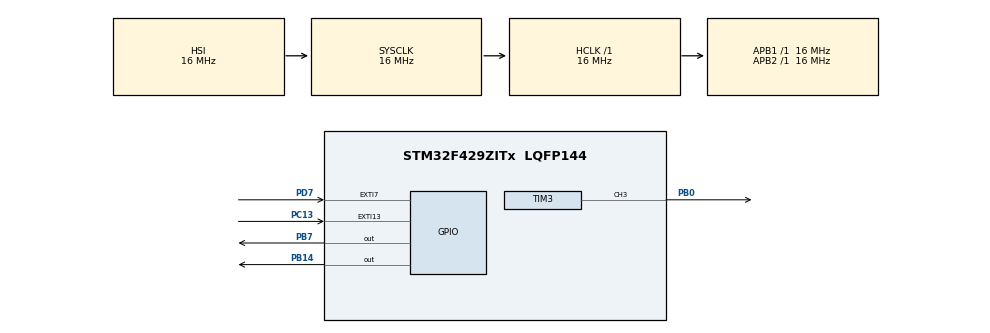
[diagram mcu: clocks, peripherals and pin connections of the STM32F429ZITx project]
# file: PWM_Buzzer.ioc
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Mcu.Family=STM32F4
Mcu.Name=STM32F429ZITx
Mcu.Package=LQFP144
NVIC.EXTI9_5_IRQn=true\:0\:0\:false\:false\:true\:true\:true\:true
NVIC.PriorityGroup=NVIC_PRIORITYGROUP_4
NVIC.TIM2_IRQn=true\:0\:0\:false\:true\:true\:2\:true\:true\:true
NVIC.TIM4_IRQn=true\:0\:0\:false\:true\:true\:1\:true\:true\:true
PB0.Signal=S_TIM3_CH3
PB14.Signal=GPIO_Output
PB7.Signal=GPIO_Output
PC13.GPIO_ModeDefaultEXTI=GPIO_MODE_IT_RISING
PC13.Signal=GPXTI13
PD7.GPIO_PuPd=GPIO_PULLUP
PD7.Signal=GPXTI7
ProjectManager.HeapSize=0x200
ProjectManager.StackSize=0x400
ProjectManager.TargetToolchain=STM32CubeIDE
RCC.AHBFreq_Value=16000000
RCC.APB1Freq_Value=16000000
RCC.APB2Freq_Value=16000000
RCC.CortexFreq_Value=16000000
RCC.HSE_VALUE=25000000
RCC.HSI_VALUE=16000000
RCC.LSE_VALUE=32768
RCC.SYSCLKFreq_VALUE=16000000
RCC.VCOOutputFreq_Value=192000000
SH.S_TIM3_CH3.0=TIM3_CH3,PWM Generation3 CH3
TIM2.AutoReloadPreload=TIM_AUTORELOAD_PRELOAD_ENABLE
TIM2.Period=199
TIM2.Prescaler=1599
TIM3.AutoReloadPreload=TIM_AUTORELOAD_PRELOAD_ENABLE
TIM3.Channel-PWM\ Generation3\ CH3=TIM_CHANNEL_3
TIM3.Period=199
TIM3.Prescaler=15
TIM4.Period=5000-1
TIM4.Prescaler=8400-1
VP_TIM2_VS_ClockSourceINT.Mode=Internal
VP_TIM3_VS_ClockSourceINT.Mode=Internal
VP_TIM4_VS_ClockSourceINT.Mode=Internal
board=custom

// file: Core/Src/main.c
/* USER CODE BEGIN Header */
/**
  ******************************************************************************
  * @file           : main.c
  * @brief          : Main program body
  ******************************************************************************
  * @attention
  *
  * <h2><center>&copy; Copyright (c) 2021 STMicroelectronics.
  * All rights reserved.</center></h2>
  *
  * This software component is licensed by ST under BSD 3-Clause license,
  * the "License"; You may not use this file except in compliance with the
  * License. You may obtain a copy of the License at:
  *                        opensource.org/licenses/BSD-3-Clause
  *
  ******************************************************************************
  */
/* USER CODE END Header */
#include "main.h"

/* USER CODE BEGIN PTD */
typedef struct{
	uint16_t freq;
	uint16_t delay;
}_BUZZER;

/* USER CODE END PTD */

/* USER CODE BEGIN PD */
#define C	262
#define D	294
#define E	330
#define F	349
#define G	392
#define A	440
#define B	494
#define C1	523
#define D1	587
#define E1	659
/* USER CODE END PD */

TIM_HandleTypeDef htim2;
TIM_HandleTypeDef htim3;
TIM_HandleTypeDef htim4;

void SystemClock_Config(void);
static void MX_GPIO_Init(void);
static void MX_TIM2_Init(void);
static void MX_TIM3_Init(void);
static void MX_TIM4_Init(void);
static void MX_NVIC_Init(void);

/* USER CODE BEGIN 0 */
#define MEL_NUM 	24

_BUZZER buzzer[MEL_NUM] = {
		{G, 1}, {G, 1}, {A, 1}, {A, 1}, // 4
		{G, 1}, {G, 1}, {E, 2}, // 3
		{G, 1}, {G, 1}, {E, 1}, {E, 1}, {D, 3}, // 5
		{G, 1}, {G, 1}, {A, 1}, {A, 1}, // 4
		{G, 1}, {G, 1}, {E, 2}, // 3
		{G, 1}, {E, 1}, {D, 1}, {E, 1}, {C, 3} // 5
};

uint8_t start = 0;
uint8_t seq = 0;
uint8_t stop = 0;

int alarm = 0;
/* USER CODE END 0 */

int main(void)
{

  /* MCU Configuration--------------------------------------------------------*/

  /* Reset of all peripherals, Initializes the Flash interface and the Systick. */
  HAL_Init();

  /* Configure the system clock */
  SystemClock_Config();

  /* Initialize all configured peripherals */
  MX_GPIO_Init();
  MX_TIM2_Init();
  MX_TIM3_Init();
  MX_TIM4_Init();

  /* Initialize interrupts */
  MX_NVIC_Init();

  /* Infinite loop */
  while (1)
  {

  }
}

void SystemClock_Config(void)
{
  RCC_OscInitTypeDef RCC_OscInitStruct = {0};
  RCC_ClkInitTypeDef RCC_ClkInitStruct = {0};

  /** Configure the main internal regulator output voltage
  */
  __HAL_RCC_PWR_CLK_ENABLE();
  __HAL_PWR_VOLTAGESCALING_CONFIG(PWR_REGULATOR_VOLTAGE_SCALE3);
  /** Initializes the RCC Oscillators according to the specified parameters
  * in the RCC_OscInitTypeDef structure.
  */
  RCC_OscInitStruct.OscillatorType = RCC_OSCILLATORTYPE_HSI;
  RCC_OscInitStruct.HSIState = RCC_HSI_ON;
  RCC_OscInitStruct.HSICalibrationValue = RCC_HSICALIBRATION_DEFAULT;
  RCC_OscInitStruct.PLL.PLLState = RCC_PLL_NONE;
  if (HAL_RCC_OscConfig(&RCC_OscInitStruct) != HAL_OK)
  {
    Error_Handler();
  }
  /** Initializes the CPU, AHB and APB buses clocks
  */
  RCC_ClkInitStruct.ClockType = RCC_CLOCKTYPE_HCLK|RCC_CLOCKTYPE_SYSCLK
                              |RCC_CLOCKTYPE_PCLK1|RCC_CLOCKTYPE_PCLK2;
  RCC_ClkInitStruct.SYSCLKSource = RCC_SYSCLKSOURCE_HSI;
  RCC_ClkInitStruct.AHBCLKDivider = RCC_SYSCLK_DIV1;
  RCC_ClkInitStruct.APB1CLKDivider = RCC_HCLK_DIV1;
  RCC_ClkInitStruct.APB2CLKDivider = RCC_HCLK_DIV1;

  if (HAL_RCC_ClockConfig(&RCC_ClkInitStruct, FLASH_LATENCY_0) != HAL_OK)
  {
    Error_Handler();
  }
}

/**
  * @brief NVIC Configuration.
  * @retval None
  */
static void MX_NVIC_Init(void)
{
  /* TIM4_IRQn interrupt configuration */
  HAL_NVIC_SetPriority(TIM4_IRQn, 0, 0);
  HAL_NVIC_EnableIRQ(TIM4_IRQn);
  /* TIM2_IRQn interrupt configuration */
  HAL_NVIC_SetPriority(TIM2_IRQn, 0, 0);
  HAL_NVIC_EnableIRQ(TIM2_IRQn);
}

static void MX_TIM2_Init(void)
{

  TIM_ClockConfigTypeDef sClockSourceConfig = {0};
  TIM_MasterConfigTypeDef sMasterConfig = {0};

  htim2.Instance = TIM2;
  htim2.Init.Prescaler = 1599;
  htim2.Init.CounterMode = TIM_COUNTERMODE_UP;
  htim2.Init.Period = 199;
  htim2.Init.ClockDivision = TIM_CLOCKDIVISION_DIV1;
  htim2.Init.AutoReloadPreload = TIM_AUTORELOAD_PRELOAD_ENABLE;
  if (HAL_TIM_Base_Init(&htim2) != HAL_OK)
  {
    Error_Handler();
  }
  sClockSourceConfig.ClockSource = TIM_CLOCKSOURCE_INTERNAL;
  if (HAL_TIM_ConfigClockSource(&htim2, &sClockSourceConfig) != HAL_OK)
  {
    Error_Handler();
  }
  sMasterConfig.MasterOutputTrigger = TIM_TRGO_RESET;
  sMasterConfig.MasterSlaveMode = TIM_MASTERSLAVEMODE_DISABLE;
  if (HAL_TIMEx_MasterConfigSynchronization(&htim2, &sMasterConfig) != HAL_OK)
  {
    Error_Handler();
  }

}

static void MX_TIM3_Init(void)
{

  TIM_ClockConfigTypeDef sClockSourceConfig = {0};
  TIM_MasterConfigTypeDef sMasterConfig = {0};
  TIM_OC_InitTypeDef sConfigOC = {0};

  htim3.Instance = TIM3;
  htim3.Init.Prescaler = 15;
  htim3.Init.CounterMode = TIM_COUNTERMODE_UP;
  htim3.Init.Period = 199;
  htim3.Init.ClockDivision = TIM_CLOCKDIVISION_DIV1;
  htim3.Init.AutoReloadPreload = TIM_AUTORELOAD_PRELOAD_ENABLE;
  if (HAL_TIM_Base_Init(&htim3) != HAL_OK)
  {
    Error_Handler();
  }
  sClockSourceConfig.ClockSource = TIM_CLOCKSOURCE_INTERNAL;
  if (HAL_TIM_ConfigClockSource(&htim3, &sClockSourceConfig) != HAL_OK)
  {
    Error_Handler();
  }
  if (HAL_TIM_PWM_Init(&htim3) != HAL_OK)
  {
    Error_Handler();
  }
  sMasterConfig.MasterOutputTrigger = TIM_TRGO_RESET;
  sMasterConfig.MasterSlaveMode = TIM_MASTERSLAVEMODE_DISABLE;
  if (HAL_TIMEx_MasterConfigSynchronization(&htim3, &sMasterConfig) != HAL_OK)
  {
    Error_Handler();
  }
  sConfigOC.OCMode = TIM_OCMODE_PWM1;
  sConfigOC.Pulse = 0;
  sConfigOC.OCPolarity = TIM_OCPOLARITY_HIGH;
  sConfigOC.OCFastMode = TIM_OCFAST_DISABLE;
  if (HAL_TIM_PWM_ConfigChannel(&htim3, &sConfigOC, TIM_CHANNEL_3) != HAL_OK)
  {
    Error_Handler();
  }
  HAL_TIM_MspPostInit(&htim3);

}

static void MX_TIM4_Init(void)
{

  TIM_ClockConfigTypeDef sClockSourceConfig = {0};
  TIM_MasterConfigTypeDef sMasterConfig = {0};

  htim4.Instance = TIM4;
  htim4.Init.Prescaler = 8400-1;
  htim4.Init.CounterMode = TIM_COUNTERMODE_UP;
  htim4.Init.Period = 5000-1;
  htim4.Init.ClockDivision = TIM_CLOCKDIVISION_DIV1;
  htim4.Init.AutoReloadPreload = TIM_AUTORELOAD_PRELOAD_DISABLE;
  if (HAL_TIM_Base_Init(&htim4) != HAL_OK)
  {
    Error_Handler();
  }
  sClockSourceConfig.ClockSource = TIM_CLOCKSOURCE_INTERNAL;
  if (HAL_TIM_ConfigClockSource(&htim4, &sClockSourceConfig) != HAL_OK)
  {
    Error_Handler();
  }
  sMasterConfig.MasterOutputTrigger = TIM_TRGO_RESET;
  sMasterConfig.MasterSlaveMode = TIM_MASTERSLAVEMODE_DISABLE;
  if (HAL_TIMEx_MasterConfigSynchronization(&htim4, &sMasterConfig) != HAL_OK)
  {
    Error_Handler();
  }

}

static void MX_GPIO_Init(void)
{
  GPIO_InitTypeDef GPIO_InitStruct = {0};

  /* GPIO Ports Clock Enable */
  __HAL_RCC_GPIOC_CLK_ENABLE();
  __HAL_RCC_GPIOB_CLK_ENABLE();
  __HAL_RCC_GPIOD_CLK_ENABLE();

  /*Configure GPIO pin Output Level */
  HAL_GPIO_WritePin(GPIOB, GPIO_PIN_14|GPIO_PIN_7, GPIO_PIN_RESET);

  /*Configure GPIO pin : PC13 */
  GPIO_InitStruct.Pin = GPIO_PIN_13;
  GPIO_InitStruct.Mode = GPIO_MODE_IT_RISING;
  GPIO_InitStruct.Pull = GPIO_NOPULL;
  HAL_GPIO_Init(GPIOC, &GPIO_InitStruct);

  /*Configure GPIO pins : PB14 PB7 */
  GPIO_InitStruct.Pin = GPIO_PIN_14|GPIO_PIN_7;
  GPIO_InitStruct.Mode = GPIO_MODE_OUTPUT_PP;
  GPIO_InitStruct.Pull = GPIO_NOPULL;
  GPIO_InitStruct.Speed = GPIO_SPEED_FREQ_LOW;
  HAL_GPIO_Init(GPIOB, &GPIO_InitStruct);

  /*Configure GPIO pin : PD7 */
  GPIO_InitStruct.Pin = GPIO_PIN_7;
  GPIO_InitStruct.Mode = GPIO_MODE_IT_RISING;
  GPIO_InitStruct.Pull = GPIO_PULLUP;
  HAL_GPIO_Init(GPIOD, &GPIO_InitStruct);

  /* EXTI interrupt init*/
  HAL_NVIC_SetPriority(EXTI9_5_IRQn, 0, 0);
  HAL_NVIC_EnableIRQ(EXTI9_5_IRQn);

}

/* USER CODE BEGIN 4 */
void HAL_GPIO_EXTI_Callback(uint16_t GPIO_Pin)
{
	start = 1;
	seq = 0;
	HAL_TIM_Base_Start_IT(&htim4);
	HAL_GPIO_TogglePin(GPIOB, GPIO_PIN_14);

}

void HAL_TIM_PeriodElapsedCallback(TIM_HandleTypeDef *htim)
{
	if (htim == &htim4) {
		HAL_TIM_Base_Start_IT(&htim2);
		HAL_TIM_PWM_Start(&htim3, TIM_CHANNEL_3);
	}
		uint16_t melody = (uint16_t)(1000000 / buzzer[seq].freq);

			if(stop == 1){
				TIM2->ARR = 2000;
				HAL_TIM_PWM_Stop(&htim3, TIM_CHANNEL_3);
				stop = 0;
			}
			else{
				if(seq == MEL_NUM){
					HAL_TIM_Base_Stop_IT(&htim2);
					HAL_TIM_PWM_Stop(&htim3, TIM_CHANNEL_3);
					seq = 0;
					HAL_TIM_Base_Stop_IT(&htim4);
				}
				else{
					TIM3->ARR = melody;
					TIM3->CCR3 = melody / 2;
					TIM2->ARR = buzzer[seq].delay * 2000;
					HAL_TIM_PWM_Start(&htim3, TIM_CHANNEL_3);
					stop = 1;

					seq++;
				}
			}

			HAL_GPIO_TogglePin(GPIOB, GPIO_PIN_7);

}
/* USER CODE END 4 */

void Error_Handler(void)
{
  __disable_irq();
  while (1)
  {
  }
}

/************************ (C) COPYRIGHT STMicroelectronics *****END OF FILE****/
